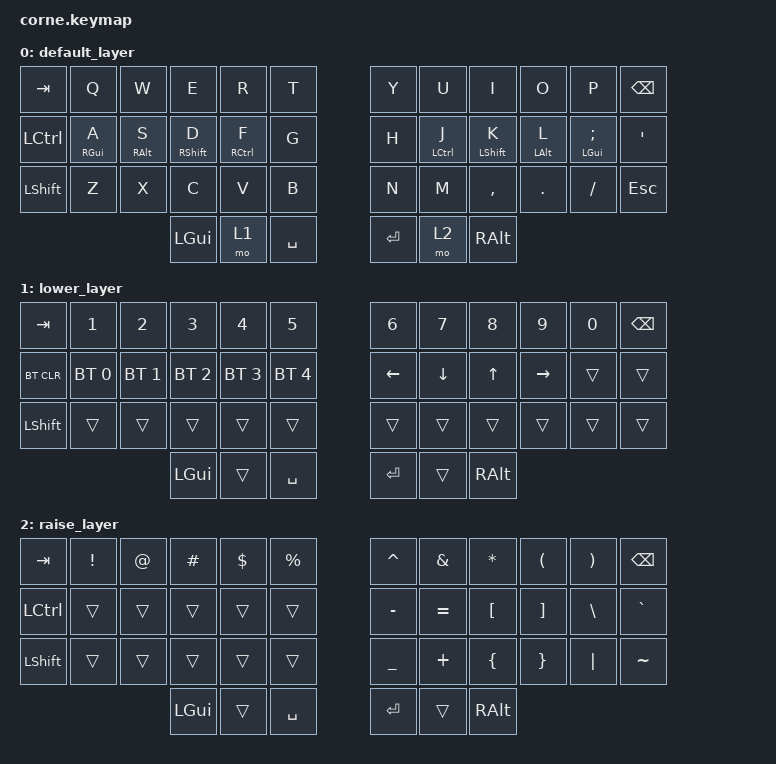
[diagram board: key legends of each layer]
/*
 * Copyright (c) 2020 The ZMK Contributors
 *
 * SPDX-License-Identifier: MIT
 */

#include <behaviors.dtsi>
#include <dt-bindings/zmk/bt.h>
#include <dt-bindings/zmk/keys.h>

/ {
    behaviors {
        hmr: hmr {
            compatible = "zmk,behavior-hold-tap";
            label = "HMR";
            bindings = <&kp>, <&kp>;

            #binding-cells = <2>;
            tapping-term-ms = <280>;
            quick-tap-ms = <175>;
            flavor = "balanced";
            hold-trigger-key-positions = <0 1 2 3 4 5 12 13 14 15 16 17 24 25 26 27 28 29 36 37 38 39 40 41>;
        };

        hml: hml {
            compatible = "zmk,behavior-hold-tap";
            label = "HML";
            bindings = <&kp>, <&kp>;

            #binding-cells = <2>;
            tapping-term-ms = <280>;
            quick-tap-ms = <170>;
            hold-trigger-key-positions = <6 7 8 9 10 11 18 19 20 21 22 23 30 31 32 33 34 35 39 40 41 36 37 38>;
        };
    };

    keymap {
        compatible = "zmk,keymap";

        default_layer {
            // -----------------------------------------------------------------------------------------
            // |  TAB |  Q  |  W  |  E  |  R  |  T  |   |  Y  |  U   |  I  |  O  |  P  | BKSP |
            // | CTRL |  A  |  S  |  D  |  F  |  G  |   |  H  |  J   |  K  |  L  |  ;  |  '   |
            // | SHFT |  Z  |  X  |  C  |  V  |  B  |   |  N  |  M   |  ,  |  .  |  /  | ESC  |
            //                    | GUI | LWR | SPC |   | ENT | RSE  | ALT |

            bindings = <
&kp TAB    &kp Q        &kp W        &kp E               &kp R         &kp T        &kp Y    &kp U         &kp I         &kp O        &kp P                &kp BSPC
&kp LCTRL  &hmr RGUI A  &hmr RALT S  &hmr RIGHT_SHIFT D  &hmr RCTRL F  &kp G        &kp H    &hml LCTRL J  &hml LSHFT K  &hml LALT L  &hml LGUI SEMICOLON  &kp SQT
&kp LSHFT  &kp Z        &kp X        &kp C               &kp V         &kp B        &kp N    &kp M         &kp COMMA     &kp DOT      &kp FSLH             &kp ESC
                                     &kp LGUI            &mo 1         &kp SPACE    &kp RET  &mo 2         &kp RALT
            >;
        };

        lower_layer {
            // -----------------------------------------------------------------------------------------
            // |  TAB |  1  |  2  |  3  |  4  |  5  |   |  6  |  7  |  8  |  9  |  0  | BKSP |
            // | BTCLR| BT1 | BT2 | BT3 | BT4 | BT5 |   | LFT | DWN |  UP | RGT |     |      |
            // | SHFT |     |     |     |     |     |   |     |     |     |     |     |      |
            //                    | GUI |     | SPC |   | ENT |     | ALT |

            bindings = <
&kp TAB     &kp N1        &kp N2        &kp N3        &kp N4        &kp N5          &kp N6    &kp N7    &kp N8    &kp N9     &kp N0  &kp BSPC
&bt BT_CLR  &bt BT_SEL 0  &bt BT_SEL 1  &bt BT_SEL 2  &bt BT_SEL 3  &bt BT_SEL 4    &kp LEFT  &kp DOWN  &kp UP    &kp RIGHT  &trans  &trans
&kp LSHFT   &trans        &trans        &trans        &trans        &trans          &trans    &trans    &trans    &trans     &trans  &trans
                                        &kp LGUI      &trans        &kp SPACE       &kp RET   &trans    &kp RALT
            >;
        };

        raise_layer {
            // -----------------------------------------------------------------------------------------
            // |  TAB |  !  |  @  |  #  |  $  |  %  |   |  ^  |  &  |  *  |  (  |  )  | BKSP |
            // | CTRL |     |     |     |     |     |   |  -  |  =  |  [  |  ]  |  \  |  `   |
            // | SHFT |     |     |     |     |     |   |  _  |  +  |  {  |  }  | "|" |  ~   |
            //                    | GUI |     | SPC |   | ENT |     | ALT |

            bindings = <
&kp TAB    &kp EXCL  &kp AT  &kp HASH  &kp DLLR  &kp PRCNT    &kp CARET  &kp AMPS   &kp ASTRK  &kp LPAR  &kp RPAR  &kp BSPC
&kp LCTRL  &trans    &trans  &trans    &trans    &trans       &kp MINUS  &kp EQUAL  &kp LBKT   &kp RBKT  &kp BSLH  &kp GRAVE
&kp LSHFT  &trans    &trans  &trans    &trans    &trans       &kp UNDER  &kp PLUS   &kp LBRC   &kp RBRC  &kp PIPE  &kp TILDE
                             &kp LGUI  &trans    &kp SPACE    &kp RET    &trans     &kp RALT
            >;
        };
    };
};
